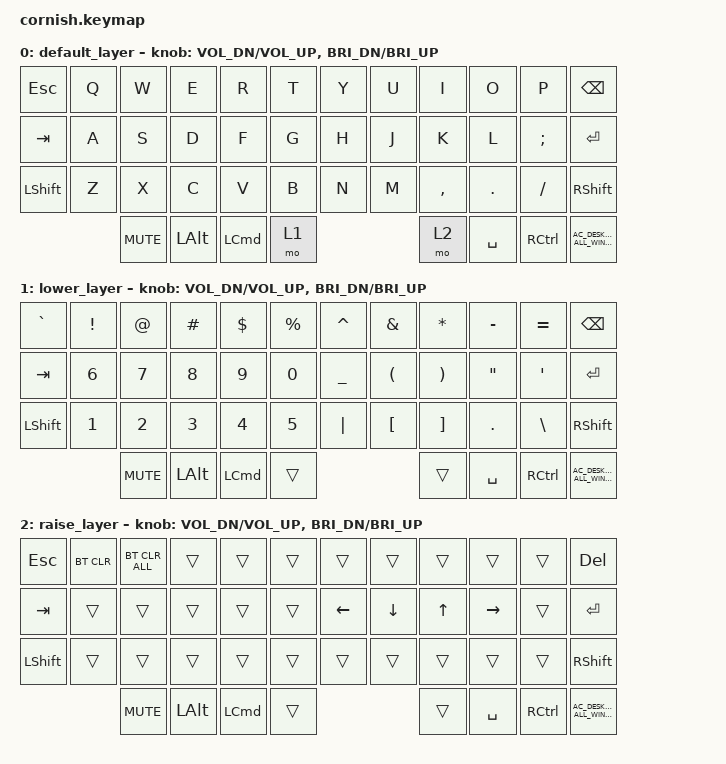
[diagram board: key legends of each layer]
/*
 * Copyright (c) 2020 The ZMK Contributors
 *
 * SPDX-License-Identifier: MIT
 */

#include <behaviors.dtsi>
#include <dt-bindings/zmk/keys.h>
#include <dt-bindings/zmk/bt.h>

/ {
        keymap {
                compatible = "zmk,keymap";

                default_layer {
                        // -----------------------------------------------------------------------------------------
                        // | ESC  |  Q  |  W  |  E  |  R  |  T  |   |  Y  |  U   |  I  |  O  |  P  | BSPC |
                        // | TAB  |  A  |  S  |  D  |  F  |  G  |   |  H  |  J   |  K  |  L  |  ;  |  ENT |
                        // | SHFT |  Z  |  X  |  C  |  V  |  B  |   |  N  |  M   |  ,  |  .  |  /  | SHFT |
                        //              | MTE | ALT | CMD | LWR |   | RSE | SPC  | CTRL |EXPL|
                        bindings = <
                            &kp ESC   &kp Q &kp W &kp E &kp R &kp T   &kp Y &kp U  &kp I     &kp O   &kp P    &kp BSPC
                            &kp TAB   &kp A &kp S &kp D &kp F &kp G   &kp H &kp J  &kp K     &kp L   &kp SEMI &kp RET
                            &kp LSHFT &kp Z &kp X &kp C &kp V &kp B   &kp N &kp M  &kp COMMA &kp DOT &kp FSLH &kp RSHFT
                                            &kp C_MUTE &kp LALT &kp LCMD &mo 1  &mo 2 &kp SPC &kp RCTRL &kp C_AC_DESKTOP_SHOW_ALL_WINDOWS
                        >;
                        sensor-bindings = <&inc_dec_kp C_VOL_DN C_VOL_UP &inc_dec_kp C_BRI_DN C_BRI_UP>;
                };
                lower_layer {
                        // -----------------------------------------------------------------------------------------
                        // |  `   |  !  |  @  |  #  |  $  |  %  |   |  ^  |  &  |  *  |  -  |  =  | BKSP  |
                        // | TAB  |  6  |  7  |  8  |  9  |  0  |   |  _  |  (  |  )  |  "  |  '  | ENT  |
                        // | SHFT |  1  |  2  |  3  |  4  |  5  |   | "|" |  [  |  ]  |  .  |  \  | SHFT |
                        //              | MTE | ALT | CMD |     |   |     | SPC | CTRL| EXPL
                        bindings = <
                            &kp GRAVE    &kp EXCL &kp AT &kp HASH &kp DLLR &kp PRCNT      &kp CARET &kp AMPS &kp ASTRK &kp MINUS &kp EQUAL  &kp BKSP
                            &kp TAB    &kp N6   &kp N7 &kp N8   &kp N9   &kp N0         &kp UNDER &kp LPAR &kp RPAR  &kp DQT   &kp SQT    &kp RET
                            &kp LSHFT  &kp N1   &kp N2 &kp N3   &kp N4   &kp N5         &kp PIPE    &kp LBKT &kp RBKT  &kp DOT  &kp BSLH   &kp RSHFT
                                                    &kp C_MUTE  &kp LALT  &kp LCMD       &trans      &trans  &kp SPC   &kp RCTRL  &kp C_AC_DESKTOP_SHOW_ALL_WINDOWS
                        >;
                        sensor-bindings = <&inc_dec_kp C_VOL_DN C_VOL_UP &inc_dec_kp C_BRI_DN C_BRI_UP>;
                };

                raise_layer {
                        // -----------------------------------------------------------------------------------------
                        // |  ESC |BTCLR|BTCLA|     |     |     |   |     |     |     |     |     |  DEL |
                        // | TAB  |     |     |     |     |     |   |left |down |  up |right|     |  ENT |
                        // | SHFT |     |     |     |     |     |   |     |     |     |     |     | SHFT |
                        //              | MTE | ALT | CMD |     |   |     | SPC | CTRL|EXPL
                        bindings = <
                            &kp ESC   &bt BT_CLR &bt BT_CLR_ALL &trans &trans &trans      &trans    &trans    &trans    &trans    &trans  &kp DEL
                            &kp TAB   &trans     &trans         &trans &trans &trans      &kp LEFT  &kp DOWN  &kp UP    &kp RIGHT &trans  &kp RET
                            &kp LSHFT &trans     &trans         &trans &trans &trans      &trans    &trans    &trans    &trans    &trans  &kp RSHFT
                                                &kp C_MUTE &kp LALT &kp LCMD   &trans   &trans   &kp SPC    &kp RCTRL  &kp C_AC_DESKTOP_SHOW_ALL_WINDOWS
                        >;
                        sensor-bindings = <&inc_dec_kp C_VOL_DN C_VOL_UP &inc_dec_kp C_BRI_DN C_BRI_UP>;
                };
        };
};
